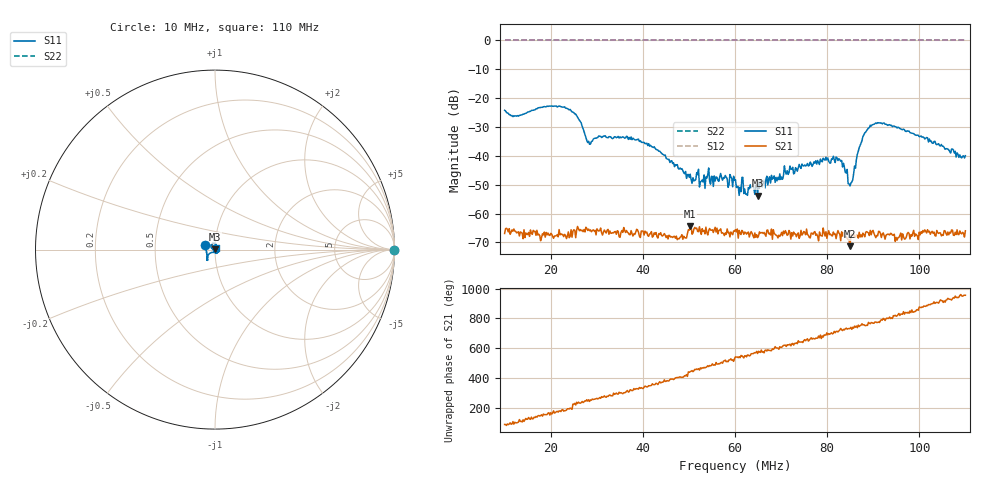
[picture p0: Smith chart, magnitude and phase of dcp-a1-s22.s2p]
! Anritsu VNA Master:  Model: MS2034B/10/19/501
! SN:  1337062
! /bd0/ovro-jan-2016/dcp-a1-s22.s2p
! Existing Calibration Information:
! TYPE:  Current Settings,  Active Cal Settings
! TIME:  01/10/2016 03:27:44 PM,  01/10/2016 03:13:30 PM
! INTERNAL TEMP:  43.3 C,  45.8 C
! # POINTS:  500,  500
! START FREQ:  10.000 MHz,  10.000 MHz
! STOP FREQ:  110.000 MHz,  110.000 MHz
! SOURCE POWER:  Low,  Low
! IFBW:  100 Hz,  100 Hz
! AVG FACTOR:  3 ,  3
! REF PLANE 1:  2.2245 m,  2.2245 m
! REF PLANE 2:  0 mm,  0 mm
! CAL TYPE:  1P2P S11,S21,  1P2P S11,S21
! CAL METHOD:  SOLT,  SOLT
! CAL LINE TYPE:  Coax,  Coax
! DUT PORT 1:  K-Conn(M),  K-Conn(M)
! DUT PORT 2:  N-Conn(M),  N-Conn(M)
! CAL STATUS:  OK: Accuracy High,  --
# GHZ S DB R 50.0
! FREQ.GHZ  S11DB  S11A  S21DB  S21A  S12DB  S12A  S22DB  S22A
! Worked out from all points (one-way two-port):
!   500 points, 10 MHz to 110 MHz, reference 50 ohm
!   highest |S21| = -64.33 dB at 50.28 MHz (marker M1); lowest = -71.3 dB at 84.95 MHz (marker M2)
!   lowest |S11| = -53.8 dB at 64.91 MHz (marker M3), VSWR 1.00, Z = 50 + j0.204 ohm
!   |S11| at or under -10 dB: start of sweep to end of sweep
!   |S22| runs from 0.0 to 0.0 dB; largest |S21 - S12| = 1
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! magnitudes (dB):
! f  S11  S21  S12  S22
! 10 MHz  -24.2  -66.9  0.0  0.0
! 12.61 MHz  -26.2  -66.7  0.0  0.0
! 22.63 MHz  -23.1  -67.2  0.0  0.0
! 25.23 MHz  -25.5  -65.8  0.0  0.0
! 26.83 MHz  -29.8  -65.7  0.0  0.0
! 28.24 MHz  -34.9  -65.4  0.0  0.0
! 36.25 MHz  -33.8  -66.6  0.0  0.0
! 43.47 MHz  -38.4  -66.9  0.0  0.0
! 49.08 MHz  -46.2  -68.4  0.0  0.0
! 50.28 MHz  -46.4  -64.3  0.0  0.0
! 60.1 MHz  -48.3  -65.6  0.0  0.0
! 62.3 MHz  -53.3  -66.6  0.0  0.0
! 64.91 MHz  -53.8  -68.3  0.0  0.0
! 76.73 MHz  -43.6  -66.8  0.0  0.0
! 82.34 MHz  -41.6  -65.9  0.0  0.0
! 83.95 MHz  -45.8  -68.0  0.0  0.0
! 84.95 MHz  -50.4  -71.3  0.0  0.0
! 86.95 MHz  -37.1  -66.5  0.0  0.0
! 88.56 MHz  -31.3  -66.2  0.0  0.0
! 90.76 MHz  -28.8  -67.6  0.0  0.0
! 93.37 MHz  -29.3  -67.2  0.0  0.0
! 110 MHz  -39.9  -66.0  0.0  0.0
